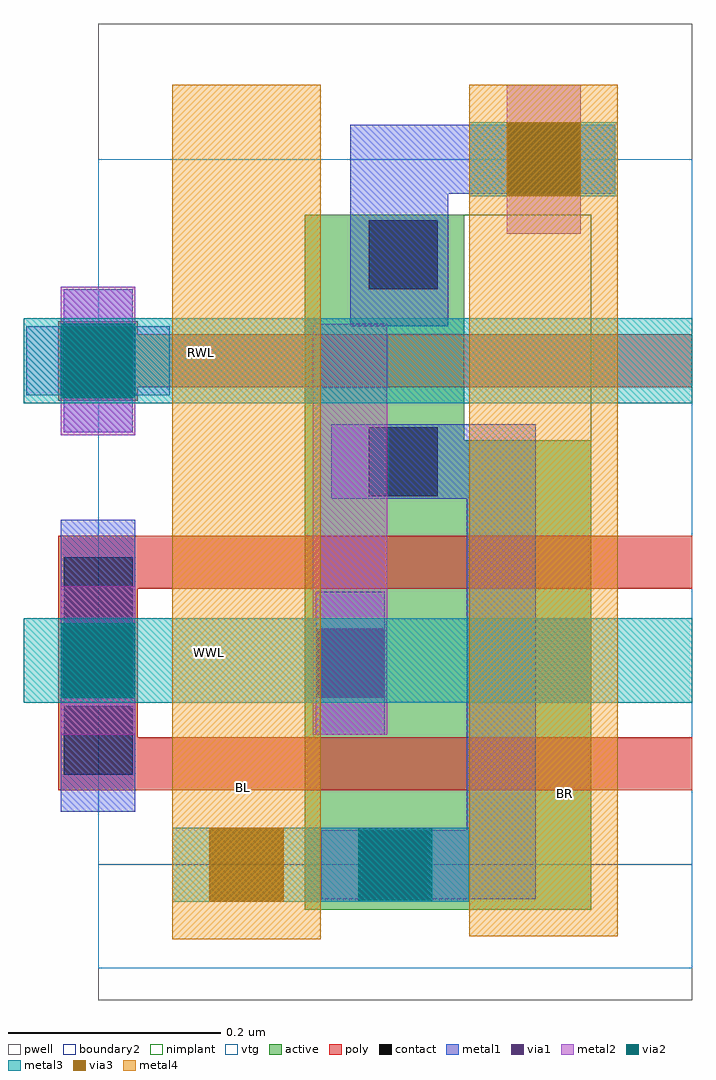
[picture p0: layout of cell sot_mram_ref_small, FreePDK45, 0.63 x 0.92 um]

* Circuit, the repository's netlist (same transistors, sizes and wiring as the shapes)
************************************************************************
* auCdl Netlist:
*
* Library Name:  spintronics
* Top Cell Name: sot_mram_small
* View Name:     schematic_for_lvs
* Netlisted on:  Apr  3 22:13:49 2021
************************************************************************

*.EQUATION
*.SCALE METER
*.MEGA
.PARAM



************************************************************************
* Library Name: spintronics
* Cell Name:    sot_mram_small
* View Name:    schematic_for_lvs
************************************************************************

.SUBCKT sot_mram_ref_small BL BR RWL WWL gnd
*.PININFO RWL:I WWL:I BL:B BR:B gnd:B
MM0 BL WWL sot_p gnd NMOS_VTG W=270.0n L=50n m=2
MM1 BL RWL BR gnd NMOS_VTG W=150.0n L=50n m=1
.ENDS

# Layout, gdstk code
from math import pi, radians
import gdstk
lib = gdstk.Library(unit=1e-6, precision=5e-10)
def R(c, l, rs):  # rectangles x0, y0, x1, y1
    for r in rs: c.add(gdstk.rectangle(r[:2], r[2:], *l))
def A(c, l, x, y, w, h, nx, ny, dx, dy):  # array of equal rectangles
    R(c, l, [(x+i*dx, y+j*dy, x+i*dx+w, y+j*dy+h) for i in range(nx) for j in range(ny)])
active = (1, 0)
pwell = (2, 0)
nimplant = (4, 0)
vtg = (6, 0)
poly = (9, 0)
contact = (10, 0)
metal1 = (11, 0)
via1 = (12, 0)
metal2 = (13, 0)
via2 = (14, 0)
metal3 = (15, 0)
via3 = (16, 0)
metal4 = (17, 0)
boundary2 = (239, 0)

m2_m1_cdns_619054777490 = lib.new_cell('M2_M1_CDNS_619054777490')
R(m2_m1_cdns_619054777490, metal1, [(-0.0325,-0.0675,0.0325,0.0675)])
R(m2_m1_cdns_619054777490, via1, [(-0.0325,-0.0325,0.0325,0.0325)])
R(m2_m1_cdns_619054777490, metal2, [(-0.035,-0.0675,0.035,0.0675)])

m3_m2_cdns_619054777491 = lib.new_cell('M3_M2_CDNS_619054777491')
R(m3_m2_cdns_619054777491, metal2, [(-0.035,-0.07,0.035,0.07)])
R(m3_m2_cdns_619054777491, via2, [(-0.035,-0.035,0.035,0.035)])
R(m3_m2_cdns_619054777491, metal3, [(-0.035,-0.07,0.035,0.07)])

m4_m3_cdns_619054777492 = lib.new_cell('M4_M3_CDNS_619054777492')
R(m4_m3_cdns_619054777492, metal3, [(-0.035,-0.07,0.035,0.07)])
R(m4_m3_cdns_619054777492, via3, [(-0.035,-0.035,0.035,0.035)])
R(m4_m3_cdns_619054777492, metal4, [(-0.07,-0.07,0.07,0.07)])

m1_poly_cdns_61905477749 = lib.new_cell('M1_POLY_CDNS_619054777493')
R(m1_poly_cdns_61905477749, poly, [(-0.0375,-0.0375,0.0375,0.0375)])
R(m1_poly_cdns_61905477749, contact, [(-0.0325,-0.0325,0.0325,0.0325)])
R(m1_poly_cdns_61905477749, metal1, [(-0.0325,-0.0675,0.0325,0.0675)])

m2_m1_cdns_619054777494 = lib.new_cell('M2_M1_CDNS_619054777494')
R(m2_m1_cdns_619054777494, metal1, [(-0.0325,-0.0675,0.0325,0.0675)])
R(m2_m1_cdns_619054777494, via1, [(-0.0325,-0.0325,0.0325,0.0325)])
R(m2_m1_cdns_619054777494, metal2, [(-0.0675,-0.035,0.0675,0.035)])

m3_m2_cdns_619054777495 = lib.new_cell('M3_M2_CDNS_619054777495')
R(m3_m2_cdns_619054777495, metal2, [(-0.035,-0.07,0.035,0.07)])
R(m3_m2_cdns_619054777495, via2, [(-0.035,-0.035,0.035,0.035)])
R(m3_m2_cdns_619054777495, metal3, [(-0.07,-0.035,0.07,0.035)])

sot_mram_ref_small = lib.new_cell('sot_mram_ref_small')
R(sot_mram_ref_small, active, [(0.195,-0.0425,0.345,0.6125), (0.195,-0.0425,0.465,0.4)])
R(sot_mram_ref_small, pwell, [(0,-0.1275,0.56,0.7925)])
R(sot_mram_ref_small, nimplant, [(0.195,-0.0425,0.465,0.6125)])
R(sot_mram_ref_small, vtg, [(0,-0.0975,0.56,0.665)])
A(sot_mram_ref_small, poly, -0.0375, 0.07, 0.5975, 0.05, 1, 3, 0, 0.19)
R(sot_mram_ref_small, poly, [(-0.0375,0.07,0.0375,0.31)])
R(sot_mram_ref_small, contact, [(0.2475,-0.0325,0.3125,0.0325), (-0.0325,0.085,0.0325,0.15), (0.205,0.1575,0.27,0.2225), (-0.0325,0.225,0.0325,0.29), (0.255,0.3475,0.32,0.4125), (0.255,0.5425,0.32,0.6075)])
R(sot_mram_ref_small, metal1, [(0.21,-0.0325,0.4125,0.0325), (0.3475,-0.03,0.4125,0.415), (-0.035,0.05,0.035,0.325), (0.22,0.345,0.3725,0.415), (0.2375,0.5075,0.33,0.6975), (0.255,0.6325,0.3825,0.6975)])
R(sot_mram_ref_small, metal2, [(0.2025,0.125,0.2725,0.51), (0.385,0.64,0.455,0.7325)])
R(sot_mram_ref_small, metal3, [(-0.07,0.1525,0.56,0.2325), (-0.07,0.435,0.56,0.515)])
R(sot_mram_ref_small, metal4, [(0.35,-0.0675,0.49,0.735), (0.07,-0.0375,0.21,0.735)])
R(sot_mram_ref_small, boundary2, [(0,0,0.56,0.665)])
sot_mram_ref_small.add(gdstk.Reference(m2_m1_cdns_619054777490, (0,0.475)))
sot_mram_ref_small.add(gdstk.Reference(m2_m1_cdns_619054777490, (0,0.1925)))
sot_mram_ref_small.add(gdstk.Reference(m2_m1_cdns_619054777490, (0.2375,0.19), rotation=pi))
sot_mram_ref_small.add(gdstk.Reference(m2_m1_cdns_619054777490, (0.2775,0), rotation=pi/2))
sot_mram_ref_small.add(gdstk.Reference(m3_m2_cdns_619054777491, (0.28,0), rotation=pi/2))
sot_mram_ref_small.add(gdstk.Reference(m4_m3_cdns_619054777492, (0.14,0), rotation=pi/2))
sot_mram_ref_small.add(gdstk.Reference(m4_m3_cdns_619054777492, (0.42,0.665), rotation=pi/2))
sot_mram_ref_small.add(gdstk.Reference(m1_poly_cdns_61905477749, (0,0.475), rotation=pi/2))
sot_mram_ref_small.add(gdstk.Reference(m2_m1_cdns_619054777494, (0.42,0.665), rotation=pi/2))
sot_mram_ref_small.add(gdstk.Reference(m3_m2_cdns_619054777495, (0,0.1925)))
sot_mram_ref_small.add(gdstk.Reference(m3_m2_cdns_619054777495, (0.42,0.665)))
sot_mram_ref_small.add(gdstk.Reference(m3_m2_cdns_619054777495, (0,0.475)))
sot_mram_ref_small.add(gdstk.Label('BL', (0.1375,0.0725), layer=17, texttype=0))
sot_mram_ref_small.add(gdstk.Label('BR', (0.44,0.0675), layer=17, texttype=0))
sot_mram_ref_small.add(gdstk.Label('WWL', (0.105,0.2), layer=15, texttype=0))
sot_mram_ref_small.add(gdstk.Label('RWL', (0.0975,0.4825), layer=15, texttype=0))

lib.write_gds('sot_mram_ref_small.gds')
